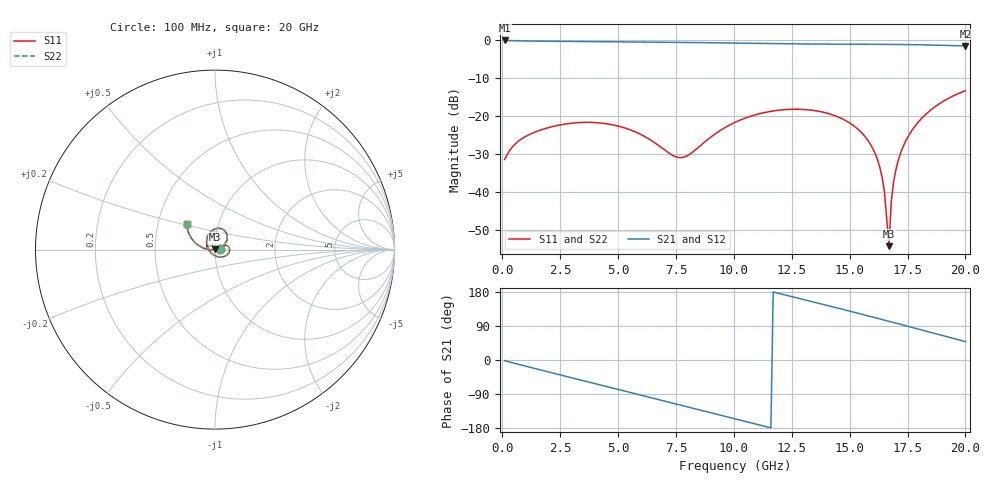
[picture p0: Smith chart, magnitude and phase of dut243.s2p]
! Touchstone file exported from HFSS 2026.1.0
!  File:  C:/ffzhzh/LocalFiles/Ansys_Project_Files/temp_train_TSV_RDL_243_1783066669_45820.aedt
!  Generated:  04:34:13 PM Jul  3, 2026
!  Design:  TSV_RDL
!  Project:  temp_train_TSV_RDL_243_1783066669_45820
! Variables:
!  h_bsmrdl = 2.94um
!  h_ox = 20um
!  h_rdl = 5um
!  h_sub = 90.51um
!  h_tmrdl = 5.2um
!  h_tsv = 90.51um
!  h_via = 3um
!  l_bsmrdl = 948.16um
!  l_sub = 4590.85um
!  l_tmrdl = 306.27um
!  m_sub = 200um
!  pitch = 30.74um
!  r_tsv = 3.37um
!  s_tmrdl = 10um
!  w_bsmrdl = 28.86um
!  w_sub = 500um
!  w_tmrdl = 11.57um
!  x_tsv_center1 = 312.055um
!  x_tsv_center2 = 1289.075um
!  x_tsv_center3 = 1606.915um
!  x_tsv_center4 = 2583.935um
!  x_tsv_center5 = 2901.775um
!  x_tsv_center6 = 3878.795um
# GHz S MA R 50.000000
! Terminal data exported
! Port[1] = TM_RDL1_1_T1
! Port[2] = TM_RDL5_1_T1
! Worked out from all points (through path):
!   200 points, 100 MHz to 20 GHz, reference 50 ohm
!   highest |S21| = -0.23 dB at 100 MHz (marker M1); lowest = -1.7 dB at 20 GHz (marker M2)
!   group delay of S21, straight-line fit = 42.9 ps
!   lowest |S11| = -54.3 dB at 16.7 GHz (marker M3), VSWR 1.00, Z = 49.8 + j0.0977 ohm
!   |S11| at or under -10 dB: start of sweep to end of sweep
!   |S22| runs from -53.9 to -13.5 dB; largest |S21 - S12| = 1.8e-14
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0.1  0.02661 12.4  0.9742 -1.8  0.9742 -1.8  0.02661 12.4
! Gamma 0 0 0 0
! Port Impedance 50 0 50 0
0.5  0.04081 25.8  0.9659 -8.4  0.9659 -8.4  0.04081 25.8
1.2  0.05705 24.3  0.9572 -19.2  0.9572 -19.2  0.05704 24.3
3.5  0.0815 0.9  0.9437 -54.6  0.9437 -54.6  0.08146 1.0
5.3  0.06878 -29.8  0.9347 -82.3  0.9347 -82.3  0.0687 -29.7
6.8  0.03955 -73.8  0.9261 -105.5  0.9261 -105.5  0.0394 -73.7
7.9  0.02886 -149.2  0.918 -122.5  0.918 -122.5  0.02868 -149.4
10.1  0.08296 120.3  0.8978 -156.3  0.8978 -156.3  0.08295 120.1
11.7  0.1153 89.8  0.8836 179.4  0.8836 179.4  0.1153 89.7
13.4  0.1176 61.9  0.874 153.7  0.874 153.7  0.1176 61.9
14.9  0.08383 38.6  0.8702 130.6  0.8702 130.6  0.08387 38.6
15.9  0.04193 23.7  0.8681 114.9  0.8681 114.9  0.04196 23.9
16.2  0.02659 20.0  0.8672 110.1  0.8672 110.1  0.02663 20.3
16.4  0.01574 18.7  0.8664 106.9  0.8664 106.9  0.01579 19.3
16.5  0.01016 19.6  0.866 105.3  0.866 105.3  0.01022 20.5
16.7  0.001924 149.4  0.865 102.1  0.865 102.1  0.002025 144.7
16.8  0.00751 178.4  0.8645 100.5  0.8645 100.5  0.007513 176.9
16.9  0.0135 -179.0  0.8639 98.9  0.8639 98.9  0.01349 -179.8
17.1  0.02581 -179.6  0.8626 95.6  0.8626 95.6  0.02579 179.9
17.4  0.0449 176.9  0.8604 90.8  0.8604 90.8  0.04488 176.5
18.4  0.1116 162.1  0.8498 74.5  0.8498 74.5  0.1116 162.0
20  0.2125 137.7  0.8245 48.6  0.8245 48.6  0.2124 137.6
